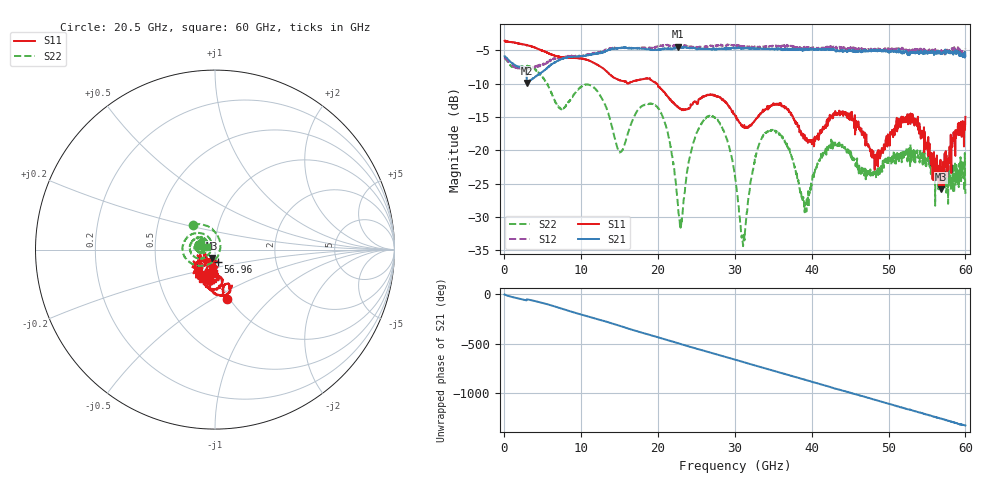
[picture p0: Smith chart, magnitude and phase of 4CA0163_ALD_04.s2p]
! File created by 'SoftPlot +Plus+ Measurement Management Software'
! SoftPlot +Plus+ Measurement Management Software
! Start 40.000000 MHz  Stop 60.000000 GHz  Points 1601
# MHZ S RI R 50
! S-Parameter data, F S11 S21 S12 S22
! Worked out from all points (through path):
!   1601 points, 40 MHz to 60 GHz, reference 50 ohm
!   highest |S21| = -4.49 dB at 22.56 GHz (marker M1); lowest = -9.9 dB at 2.926 GHz (marker M2)
!   group delay of S21, straight-line fit = 62.1 ps
!   lowest |S11| = -25.9 dB at 56.81 GHz (marker M3), VSWR 1.11, Z = 47.9 - j4.51 ohm
!   |S11| at or under -10 dB: 16.00058 GHz to 16.01592 GHz (15.35 MHz wide, 0.0959 % of centre); 16.06117 GHz to 16.08347 GHz (22.3 MHz wide, 0.139 % of centre); 19.8 GHz to end of sweep
!   |S22| runs from -34.4 to -6.0 dB; largest |S21 - S12| = 0.11
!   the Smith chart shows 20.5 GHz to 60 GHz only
!   S11 on the Smith chart (normalised r, x): 20.5 GHz: 0.97, -0.58; 56.96 GHz: 1.02, -0.14; 60 GHz: 0.82, -0.28
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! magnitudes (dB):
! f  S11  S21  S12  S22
! 40 MHz  -3.6  -5.9  -6.2  -6.0
! 2.926 GHz  -4.2  -9.9  -7.9  -7.4
! 7.348 GHz  -6.1  -6.4  -6.1  -13.8
! 10.05 GHz  -6.3  -5.9  -5.9  -10.5
! 15.03 GHz  -9.5  -4.7  -4.7  -20.3
! 20.05 GHz  -10.5  -4.9  -4.4  -13.7
! 20.5 GHz  -11.0  -4.8  -4.3  -14.7
! 22.56 GHz  -13.5  -4.5  -4.3  -27.9
! 23.01 GHz  -13.8  -4.5  -4.4  -31.1
! 26.53 GHz  -11.7  -4.8  -4.5  -14.9
! 30.02 GHz  -14.8  -4.6  -4.2  -23.8
! 31.07 GHz  -16.4  -4.7  -4.4  -34.4
! 34.18 GHz  -13.7  -4.8  -4.5  -17.3
! 39.01 GHz  -18.1  -5.0  -4.5  -28.8
! 40.03 GHz  -19.1  -4.9  -4.7  -24.9
! 42.76 GHz  -14.8  -4.8  -4.6  -18.7
! 48.31 GHz  -20.7  -5.0  -4.9  -23.5
! 50.03 GHz  -18.5  -5.2  -4.9  -21.1
! 53.37 GHz  -16.3  -5.4  -5.0  -21.8
! 56.81 GHz  -25.9  -5.4  -5.3  -24.8
! 56.96 GHz  -23.1  -5.4  -5.1  -22.1
! 60 GHz  -15.0  -5.9  -4.7  -26.5
